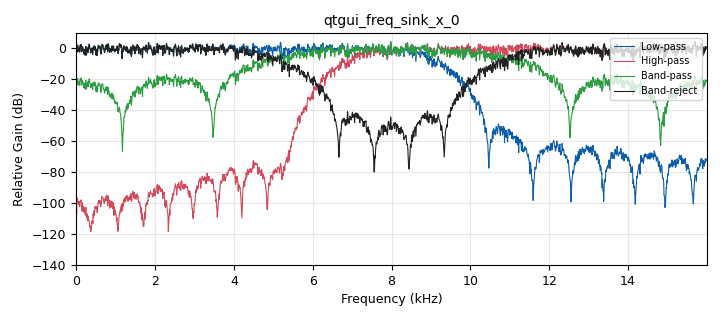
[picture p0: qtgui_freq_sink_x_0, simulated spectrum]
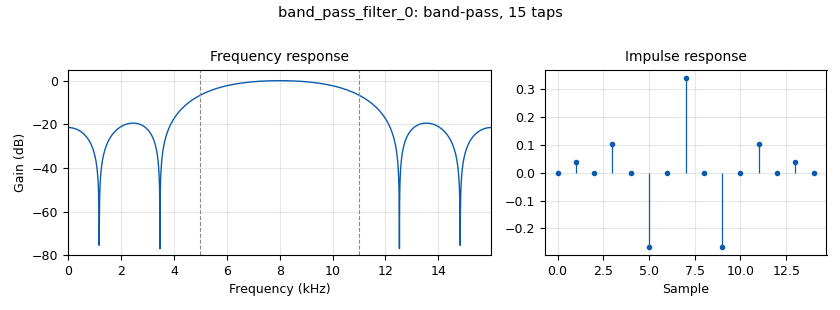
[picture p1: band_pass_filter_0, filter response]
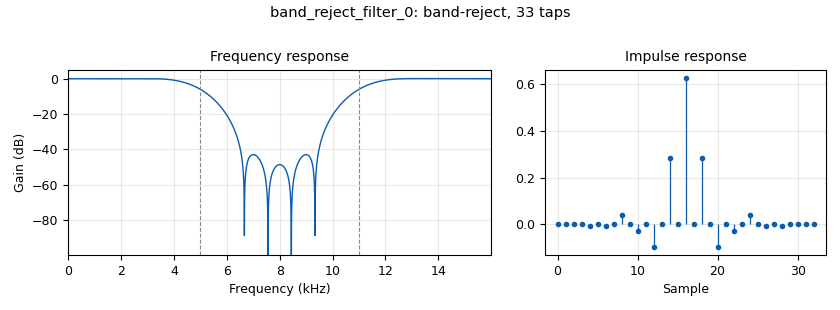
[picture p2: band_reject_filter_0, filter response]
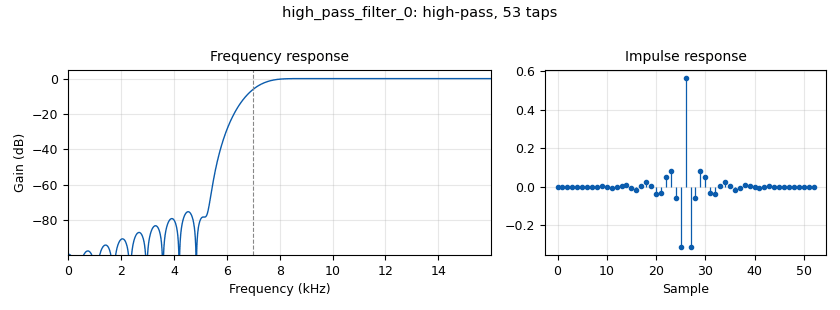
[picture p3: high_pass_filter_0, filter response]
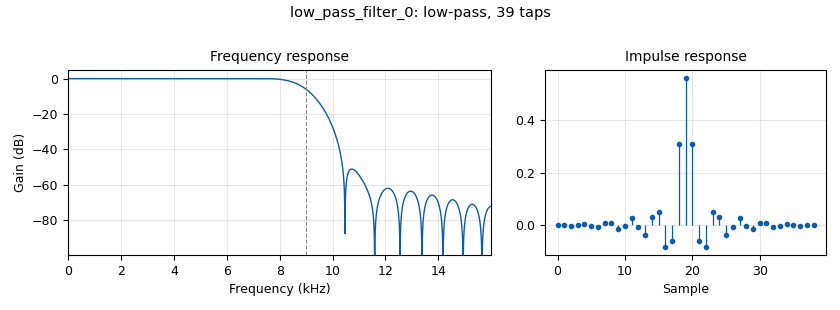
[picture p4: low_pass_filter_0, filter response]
options:
  parameters:
    author: Jay Patel
    category: Custom
    description: FIR Filter Introduction
    generate_options: qt_gui
    id: filter_taps
    output_language: python
    title: Filter Introduction
  states: {}

blocks:
- name: BP_Filter_Taps
  id: variable_qtgui_label
  parameters:
    comment: BP_GUI_Label
    gui_hint: 5,0,1,1
    label: BP Filter Taps (Rectangular window)
    type: int
    value: len(firdes.band_pass(1.0, samp_rate, bp_low, bp_high, transition, firdes.WIN_RECTANGULAR, 6.76))
  states: {}
- name: BS_Filter_Taps_0
  id: variable_qtgui_label
  parameters:
    comment: BS_GUI_Label
    gui_hint: 5,1,1,1
    label: BS Filter Taps (Hanning window)
    type: int
    value: len(firdes.band_reject(1.0, samp_rate, bp_low, bp_high, transition, firdes.WIN_HANN, 6.76))
  states: {}
- name: HP_Filter_Taps
  id: variable_qtgui_label
  parameters:
    comment: HP_GUI_Label
    gui_hint: 4,1,1,1
    label: HP Filter Taps (Blackman window)
    type: int
    value: len(firdes.high_pass(1, samp_rate, hp_cutoff, transition, firdes.WIN_BLACKMAN, 6.76))
  states: {}
- name: LP_Filter_Taps
  id: variable_qtgui_label
  parameters:
    comment: LP_GUI_Label
    gui_hint: 4,0,1,1
    label: LP Filter Taps (Hamming window)
    type: int
    value: len(firdes.low_pass(1, samp_rate, lp_cutoff, transition, firdes.WIN_HAMMING, 6.76))
  states: {}
- name: bp_high
  id: variable_qtgui_range
  parameters:
    comment: BP_lower_cutoff
    gui_hint: 1,1,1,1
    label: BP High-cutoff
    orient: Qt.Horizontal
    rangeType: int
    start: '9000'
    step: '1000'
    stop: '15000'
    value: '11000'
  states: {}
- name: bp_low
  id: variable_qtgui_range
  parameters:
    comment: BP_lower_cutoff
    gui_hint: 1,0,1,1
    label: BP Low-cutoff
    orient: Qt.Horizontal
    rangeType: int
    start: '1000'
    step: '1000'
    stop: '8000'
    value: '5000'
  states: {}
- name: bp_taps_value
  id: variable
  parameters:
    comment: |-
      Printing
      Band Pass 
      coefficient
    value: 'print("\nThis is Band Pass coefficient : \t", firdes.band_pass(1.0, samp_rate, bp_low, bp_high, transition, firdes.WIN_RECTANGULAR, 6.76))'
  states: {}
- name: bp_taps_value_no_0
  id: variable
  parameters:
    comment: |-
      Displaying
      No of taps
      (BP)
    value: print("\nThis is number of Band pass filter taps:- \t",len(firdes.band_pass(1.0, samp_rate, bp_low, bp_high, transition, firdes.WIN_RECTANGULAR, 6.76)))
  states: {}
- name: bs_taps_value_0
  id: variable
  parameters:
    comment: |-
      Printing
      Band Stop 
      coefficient
    value: 'print("\nThis is Band Stop coefficient : \t", firdes.band_reject(1.0, samp_rate, bp_low, bp_high, transition, firdes.WIN_HANN, 6.76))'
  states: {}
- name: bs_taps_value_no_0_0
  id: variable
  parameters:
    comment: |-
      Displaying
      No of taps
      (BS)
    value: print("\nThis is number of Band Stop filter taps:- \t",len(firdes.band_reject(1.0, samp_rate, bp_low, bp_high, transition, firdes.WIN_HANN, 6.76)))
  states: {}
- name: hp_cutoff
  id: variable_qtgui_range
  parameters:
    comment: High-pass cutoff
    gui_hint: 0,1,1,1
    label: HP Cutoff
    orient: Qt.Horizontal
    rangeType: int
    start: '1000'
    step: '1000'
    stop: '15000'
    value: '7000'
  states: {}
- name: hp_taps_value
  id: variable
  parameters:
    comment: |-
      Printing
      High Pass 
      coefficient
    value: 'print("\nThis is High Pass coefficient : \t",firdes.high_pass(1, samp_rate, hp_cutoff, transition, firdes.WIN_BLACKMAN, 6.76))'
  states: {}
- name: hp_taps_value_no
  id: variable
  parameters:
    comment: |-
      Displaying
      No of taps
      (HP)
    value: print("\nThis is number of High pass filter taps :- \t",len(firdes.high_pass(1, samp_rate, hp_cutoff, transition, firdes.WIN_BLACKMAN, 6.76)))
  states: {}
- name: len_taps
  id: variable
  parameters:
    comment: |-
      Display the number
      of taps (coefficients)
    value: len(firdes.low_pass(1, samp_rate, lp_cutoff, transition, firdes.WIN_RECTANGULAR, 6.76))
  states: {state: disabled}
- name: lp_cutoff
  id: variable_qtgui_range
  parameters:
    comment: Low-pass cutoff
    gui_hint: 0,0,1,1
    label: LP Cutoff
    orient: Qt.Horizontal
    rangeType: int
    start: '1000'
    step: '1000'
    stop: '16000'
    value: '9000'
  states: {}
- name: lp_taps_value
  id: variable
  parameters:
    comment: |-
      Printing
      Low Pass 
      coefficient
    value: 'print("\nThis is Low Pass coefficient : \t",firdes.low_pass(1, samp_rate, lp_cutoff, transition, firdes.WIN_HAMMING, 6.76))'
  states: {}
- name: lp_taps_value_no
  id: variable
  parameters:
    comment: |-
      Displaying
      No of taps
      (LP)
    value: print("\nThis is number of Low pass filter taps :- \t",len(firdes.low_pass(1, samp_rate, lp_cutoff, transition, firdes.WIN_HAMMING, 6.76)))
  states: {}
- name: samp_rate
  id: variable
  parameters:
    value: '32000'
  states: {}
- name: sps
  id: variable
  parameters:
    value: '2'
  states: {}
- name: sym_rate
  id: variable
  parameters:
    value: samp_rate/sps
  states: {}
- name: transition
  id: variable_qtgui_range
  parameters:
    comment: transition_width
    gui_hint: 3,0,1,1
    label: Transition width
    orient: Qt.Horizontal
    rangeType: int
    start: '500'
    step: '100'
    stop: '15000'
    value: '2000'
  states: {}
- name: analog_fastnoise_source_x_0
  id: analog_fastnoise_source_x
  parameters:
    amp: '160'
    comment: Signal Source
    noise_type: analog.GR_GAUSSIAN
    samples: '8192'
    seed: '0'
    type: float
  states: {}
- name: band_pass_filter_0
  id: band_pass_filter
  parameters:
    comment: Band-Pass Filter
    decim: '1'
    gain: '1'
    high_cutoff_freq: bp_high
    low_cutoff_freq: bp_low
    samp_rate: samp_rate
    type: fir_filter_fff
    width: transition
    win: firdes.WIN_RECTANGULAR
  states: {}
- name: band_reject_filter_0
  id: band_reject_filter
  parameters:
    comment: Band-Reject Filter
    decim: '1'
    gain: '1'
    high_cutoff_freq: bp_high
    low_cutoff_freq: bp_low
    samp_rate: samp_rate
    type: fir_filter_fff
    width: transition
    win: firdes.WIN_HANN
  states: {}
- name: blocks_null_sink_0
  id: blocks_null_sink
  parameters:
    type: float
  states: {}
- name: blocks_null_source_0
  id: blocks_null_source
  parameters:
    type: float
  states: {}
- name: blocks_throttle_0
  id: blocks_throttle
  parameters:
    samples_per_second: samp_rate
    type: float
  states: {}
- name: high_pass_filter_0
  id: high_pass_filter
  parameters:
    comment: High-pass filter
    cutoff_freq: hp_cutoff
    decim: '1'
    gain: '1'
    samp_rate: samp_rate
    type: fir_filter_fff
    width: transition
    win: firdes.WIN_BLACKMAN
  states: {}
- name: low_pass_filter_0
  id: low_pass_filter
  parameters:
    comment: Low-pass filter
    cutoff_freq: lp_cutoff
    decim: '1'
    gain: '1'
    samp_rate: samp_rate
    type: fir_filter_fff
    width: transition
    win: firdes.WIN_HAMMING
  states: {}
- name: qtgui_freq_sink_x_0
  id: qtgui_freq_sink_x
  parameters:
    alpha1: '0.9'
    alpha2: '0.9'
    alpha3: '0.9'
    alpha4: '0.9'
    average: '0.2'
    bw: samp_rate
    comment: GUI
    ctrlpanel: 'True'
    fc: '0'
    fftsize: '4096'
    freqhalf: 'False'
    grid: 'True'
    gui_hint: 2,0,1,2
    label1: Low-pass
    label2: High-pass
    label3: Band-pass
    label4: Band-reject
    nconnections: '4'
    showports: 'True'
    type: float
    wintype: firdes.WIN_BLACKMAN_hARRIS
  states: {}

connections:
- [analog_fastnoise_source_x_0, '0', band_pass_filter_0, '0']
- [analog_fastnoise_source_x_0, '0', band_reject_filter_0, '0']
- [analog_fastnoise_source_x_0, '0', high_pass_filter_0, '0']
- [analog_fastnoise_source_x_0, '0', low_pass_filter_0, '0']
- [band_pass_filter_0, '0', qtgui_freq_sink_x_0, '2']
- [band_reject_filter_0, '0', qtgui_freq_sink_x_0, '3']
- [blocks_null_source_0, '0', blocks_throttle_0, '0']
- [blocks_throttle_0, '0', blocks_null_sink_0, '0']
- [high_pass_filter_0, '0', qtgui_freq_sink_x_0, '1']
- [low_pass_filter_0, '0', qtgui_freq_sink_x_0, '0']

metadata:
  file_format: 1
